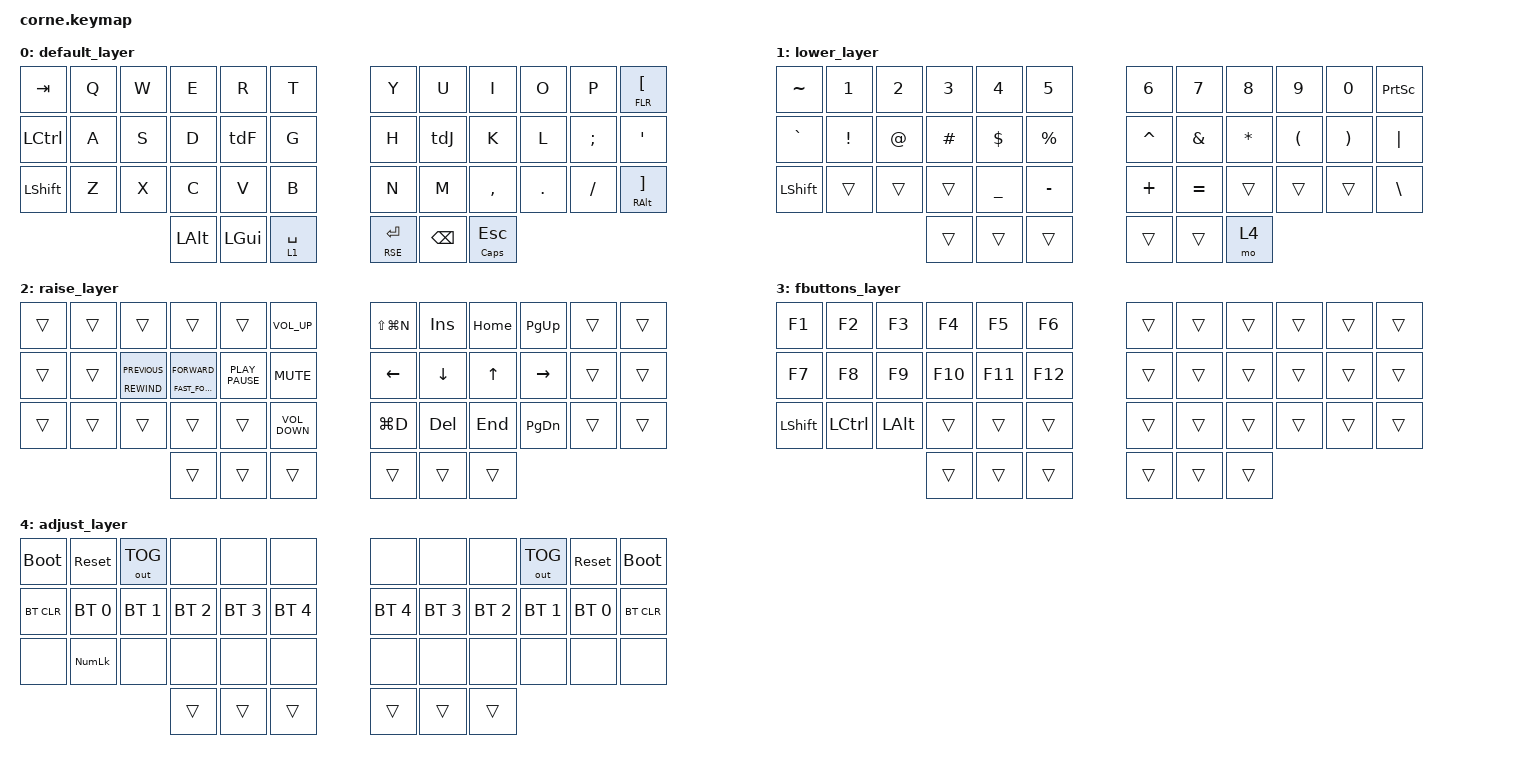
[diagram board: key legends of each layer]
/*
 * Copyright (c) 2020 The ZMK Contributors
 *
 * SPDX-License-Identifier: MIT
 */

#include <behaviors.dtsi>
#include <dt-bindings/zmk/bt.h>
#include <dt-bindings/zmk/keys.h>
#include <dt-bindings/zmk/outputs.h>

#define DEF 0
#define LWR 1
#define RSE 2
#define FLR 3
#define ADJ 4

&lt { quick_tap_ms = <219>; };

&mt { quick_tap_ms = <219>; };

/ {
    behaviors {
        tdF: tap_dance_lang1 {
            compatible = "zmk,behavior-tap-dance";
            #binding-cells = <0>;
            tapping-term-ms = <100>;
            bindings = <&kp F>, <&kp LS(LEFT_ALT)>;
        };

        tdJ: tap_dance_lang2 {
            compatible = "zmk,behavior-tap-dance";
            #binding-cells = <0>;
            tapping-term-ms = <100>;
            bindings = <&kp J>, <&kp LS(LEFT_ALT)>;
        };

        lh_pht: left_positional_hold_tap {
            compatible = "zmk,behavior-hold-tap";
            #binding-cells = <2>;
            flavor = "tap-unless-interrupted";
            tapping-term-ms = <100>;                        // <---[[produces tap if held longer than tapping-term-ms]]
            quick-tap-ms = <200>;
            bindings = <&kp>, <&kp>;

            hold-trigger-key-positions = <0 1 2 3 4 5>;    // <---[[right-hand keys]]
        };
    };

    combos {
        compatible = "zmk,combos";

        ParaLeft {
            bindings = <&kp LEFT_PARENTHESIS>;
            key-positions = <4 5>;
            timeout-ms = <20>;
        };

        ParaRight {
            bindings = <&kp RIGHT_PARENTHESIS>;
            key-positions = <6 7>;
            timeout-ms = <20>;
        };

        BrakLeft {
            bindings = <&kp LEFT_BRACKET>;
            key-positions = <16 17>;
            timeout-ms = <20>;
        };

        BrakRight {
            bindings = <&kp RIGHT_BRACKET>;
            key-positions = <18 19>;
            timeout-ms = <20>;
        };

        BraceLeft {
            bindings = <&kp LEFT_BRACE>;
            key-positions = <28 29>;
            timeout-ms = <20>;
        };

        BraceRight {
            bindings = <&kp RIGHT_BRACE>;
            key-positions = <30 31>;
            timeout-ms = <20>;
        };

        DoubleQuote {
            bindings = <&kp DOUBLE_QUOTES>;
            key-positions = <15 16>;
            timeout-ms = <20>;
        };

        SingleQuote {
            bindings = <&kp APOSTROPHE>;
            key-positions = <19 20>;
            timeout-ms = <20>;
        };

        //LangRu {
        //    bindings = <&kp LG(F11)>;
        //    key-positions = <0 1>;
        //    timeout-ms = <20>;
        //};
        //LangUs {
        //   bindings = <&kp LG(F12)>;
        //    key-positions = <10 11>;
        //    timeout-ms = <20>;
        //};
        //LangRuL {
        //    bindings = <&kp LG(F11)>;
        //    key-positions = <36 38>;
        //    timeout-ms = <20>;
        //};
        //LangUsL {
        //    bindings = <&kp LG(F12)>;
        //    key-positions = <39 41>;
        //    timeout-ms = <20>;
        //};

        TildaSign {
            bindings = <&kp TILDE>;
            key-positions = <0 12>;
            timeout-ms = <20>;
        };

        GraveSign {
            bindings = <&kp GRAVE>;
            key-positions = <12 24>;
            timeout-ms = <20>;
        };

        MinusSign {
            bindings = <&kp MINUS>;
            key-positions = <3 4>;
            timeout-ms = <20>;
        };

        PlusSign {
            bindings = <&kp PLUS>;
            key-positions = <2 3>;
            timeout-ms = <20>;
        };

        UnderscoreSign {
            bindings = <&kp UNDERSCORE>;
            key-positions = <7 8>;
            timeout-ms = <20>;
        };

        PipeSign {
            bindings = <&kp PIPE>;
            key-positions = <8 9>;
            timeout-ms = <20>;
        };

        Mainbootloaderleft {
            bindings = <&bootloader>;
            key-positions = <0 4>;
            timeout-ms = <20>;
        };

        Mainbootloaderright {
            bindings = <&bootloader>;
            key-positions = <7 11>;
            timeout-ms = <20>;
        };
    };
};

/ {
    keymap {
        compatible = "zmk,keymap";

        default_layer {
            bindings = <
&kp TAB    &kp Q  &kp W  &kp E         &kp R         &kp T          &kp Y          &kp U     &kp I                &kp O    &kp P     &lt FLR LEFT_BRACKET
&kp LCTRL  &kp A  &kp S  &kp D         &tdF          &kp G          &kp H          &tdJ      &kp K                &kp L    &kp SEMI  &kp SQT
&kp LSHFT  &kp Z  &kp X  &kp C         &kp V         &kp B          &kp N          &kp M     &kp COMMA            &kp DOT  &kp FSLH  &mt RALT RIGHT_BRACKET
                         &kp LEFT_ALT  &kp LEFT_GUI  &lt 1 SPACE    &lt RSE ENTER  &kp BSPC  &mt CAPSLOCK ESCAPE
            >;
        };

        lower_layer {
            bindings = <
&kp TILDE  &kp N1    &kp N2  &kp N3    &kp N4          &kp N5       &kp N6     &kp N7     &kp N8     &kp N9    &kp N0    &kp PRINTSCREEN
&kp GRAVE  &kp EXCL  &kp AT  &kp HASH  &kp DLLR        &kp PRCNT    &kp CARET  &kp AMPS   &kp ASTRK  &kp LPAR  &kp RPAR  &kp PIPE
&kp LSHFT  &trans    &trans  &trans    &kp UNDERSCORE  &kp MINUS    &kp PLUS   &kp EQUAL  &trans     &trans    &trans    &kp BSLH
                             &trans    &trans          &trans       &trans     &trans     &mo 4
            >;
        };

        raise_layer {
            bindings = <
&trans  &trans  &trans                   &trans                        &trans            &kp K_VOLUME_UP      &kp LS(LG(N))   &kp INSERT      &kp HOME      &kp PAGE_UP    &trans  &trans
&trans  &trans  &mt C_REWIND K_PREVIOUS  &mt C_FAST_FORWARD K_FORWARD  &kp K_PLAY_PAUSE  &kp K_MUTE           &kp LEFT_ARROW  &kp DOWN_ARROW  &kp UP_ARROW  &kp RIGHT      &trans  &trans
&trans  &trans  &trans                   &trans                        &trans            &kp K_VOLUME_DOWN    &kp LG(D)       &kp DELETE      &kp END       &kp PAGE_DOWN  &trans  &trans
                                         &trans                        &trans            &trans               &trans          &trans          &trans
            >;
        };

        fbuttons_layer {
            bindings = <
&kp F1          &kp F2     &kp F3    &kp F4   &kp F5   &kp F6     &trans  &trans  &trans  &trans  &trans  &trans
&kp F7          &kp F8     &kp F9    &kp F10  &kp F11  &kp F12    &trans  &trans  &trans  &trans  &trans  &trans
&kp LEFT_SHIFT  &kp LCTRL  &kp LALT  &trans   &trans   &trans     &trans  &trans  &trans  &trans  &trans  &trans
                                     &trans   &trans   &trans     &trans  &trans  &trans
            >;
        };

        adjust_layer {
            bindings = <
&bootloader  &sys_reset    &out OUT_TOG  &none         &none         &none           &none         &none         &none         &out OUT_TOG  &sys_reset    &bootloader
&bt BT_CLR   &bt BT_SEL 0  &bt BT_SEL 1  &bt BT_SEL 2  &bt BT_SEL 3  &bt BT_SEL 4    &bt BT_SEL 4  &bt BT_SEL 3  &bt BT_SEL 2  &bt BT_SEL 1  &bt BT_SEL 0  &bt BT_CLR
&none        &kp KP_NUM    &none         &none         &none         &none           &none         &none         &none         &none         &none         &none
                                         &trans        &trans        &trans          &trans        &trans        &trans
            >;
        };
    };
};
